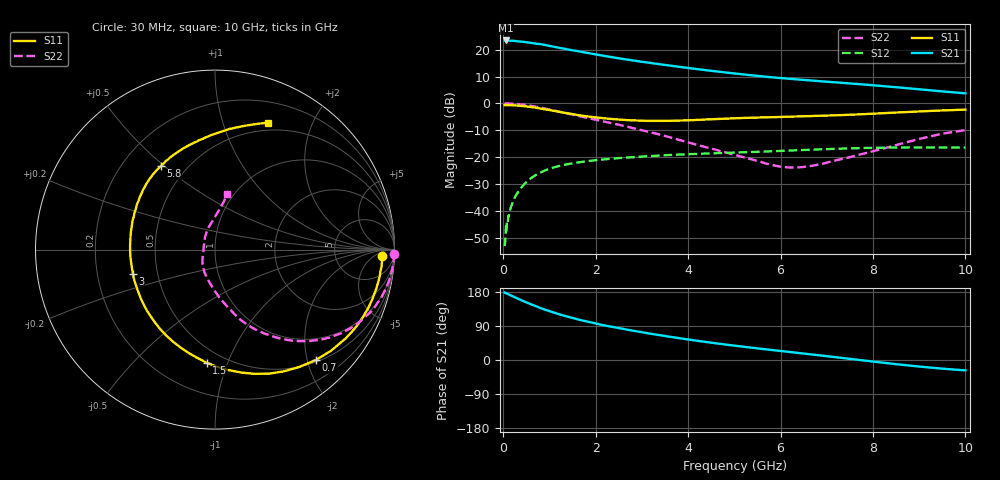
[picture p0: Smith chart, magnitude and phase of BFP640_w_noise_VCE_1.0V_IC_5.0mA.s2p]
! Infineon Technologies  Discrete & RF Semiconductors
! BFP640
! VCE =  1.0 V,  IC =  5.0 mA
! Common Emitter S-Parameters:  Apr 2013
# GHz  S  MA  R  50
!  f  S11  S21  S12  S22
! GHz  MAG  ANG  MAG  ANG  MAG  ANG  MAG  ANG
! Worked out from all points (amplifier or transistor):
!   99 points, 30 MHz to 10 GHz, reference 50 ohm
!   highest |S21| = 23.5 dB at 50 MHz (marker M1)
!   |S21| within 3 dB of that: start of sweep to 1.297 GHz
!   unconditionally stable (mu >= 1): 5.202 GHz to end of sweep
!   at 350 MHz: K = 0.09, MSG = 27.6 dB, |S12| = -32.2 dB
!   at 3.5 GHz: K = 0.81, MSG = 16.8 dB, |S12| = -19.3 dB
!   at 10 GHz: K = 1.15, MAG = 7.8 dB, |S12| = -16.4 dB
!   lowest NFmin = 0.54 dB at 450 MHz
!   S11 on the Smith chart (normalised r, x): 30 MHz: 23, -12; 700 MHz: 0.54, -2.16; 1.5 GHz: 0.40, -0.85; 3 GHz: 0.36, -0.13; 5.8 GHz: 0.36, +0.49; 10 GHz: 0.41, +1.42
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0.03  0.9332 -2.1  14.76 178.0  0.0022 89.3  0.9969 -1.3
0.05  0.9336 -3.5  14.88 177.1  0.0035 92.4  0.9965 -2.4
0.08  0.9331 -5.5  14.81 175.2  0.0064 89.9  0.9958 -3.6
0.25  0.9191 -17.4  14.58 165.6  0.0178 81.5  0.9816 -11.3
0.45  0.8892 -31.1  13.99 154.6  0.031 73.6  0.945 -20.0
0.7  0.8337 -47.5  12.99 142.3  0.0463 64.5  0.8726 -30.2
0.8  0.8048 -54.4  12.72 137.3  0.0513 61.2  0.8407 -33.8
0.9  0.7788 -60.6  12.29 133.0  0.0564 57.8  0.8054 -37.4
1.1  0.7263 -72.4  11.36 124.9  0.0646 52.3  0.7392 -43.4
1.3  0.6751 -83.7  10.52 117.4  0.0712 47.2  0.6764 -48.8
1.5  0.6326 -94.1  9.732 111.0  0.0768 43.1  0.6189 -53.3
1.7  0.5922 -104.9  9.11 104.6  0.0814 39.6  0.5653 -57.5
2.1  0.538 -124.6  7.914 93.6  0.0895 33.4  0.4765 -65.0
2.3  0.5168 -133.7  7.403 88.7  0.0928 31.0  0.4363 -68.2
3  0.4774 -163.3  5.965 73.3  0.1026 23.7  0.3167 -78.7
3.4  0.4731 -179.1  5.348 65.2  0.1074 20.0  0.2609 -85.8
4.1  0.4886 157.8  4.468 52.4  0.1142 14.2  0.1782 -101.4
5.1  0.5326 134.5  3.539 36.4  0.1224 7.4  0.1054 -131.2
5.8  0.5542 123.1  3.079 26.5  0.1286 3.4  0.0721 -158.3
6.7  0.5837 110.4  2.657 14.2  0.1381 -2.4  0.0694 150.5
8.5  0.6769 83.2  2.005 -11.0  0.1511 -16.7  0.1675 93.2
10  0.7666 67.3  1.54 -27.4  0.1508 -25.9  0.3189 77.8
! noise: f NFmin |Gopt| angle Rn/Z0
0.45  0.54  0.45  12  0.1
0.9  0.56  0.45  21  0.1
1.5  0.59  0.39  33  0.1
1.9  0.64  0.34  51  0.1
2.4  0.69  0.31  58  0.1
3.5  0.84  0.26  84  0.09
5.5  1.1  0.28  -156  0.11
10  1.81  0.63  -65  0.45
